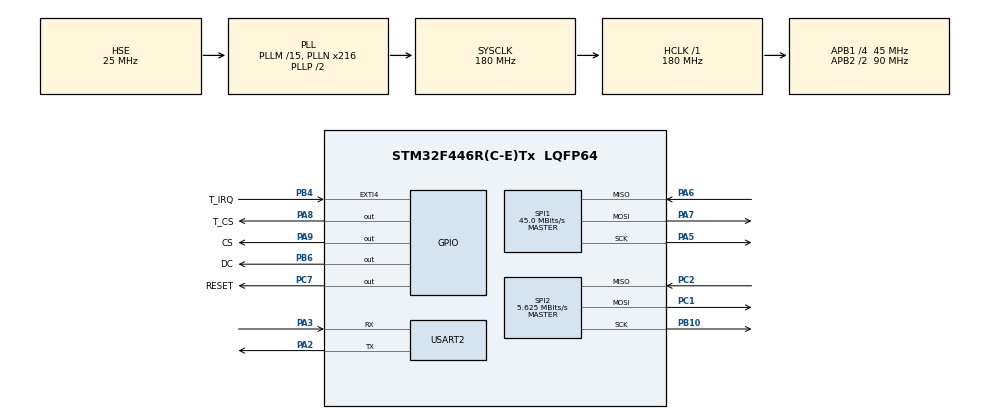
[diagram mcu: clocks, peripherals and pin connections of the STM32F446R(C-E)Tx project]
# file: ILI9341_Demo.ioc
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Dma.Request0=SPI1_TX
Dma.Request1=USART2_RX
Dma.Request2=USART2_TX
Dma.SPI1_TX.0.Direction=DMA_MEMORY_TO_PERIPH
Dma.SPI1_TX.0.FIFOMode=DMA_FIFOMODE_DISABLE
Dma.SPI1_TX.0.Instance=DMA2_Stream3
Dma.SPI1_TX.0.MemDataAlignment=DMA_MDATAALIGN_BYTE
Dma.SPI1_TX.0.MemInc=DMA_MINC_ENABLE
Dma.SPI1_TX.0.Mode=DMA_NORMAL
Dma.SPI1_TX.0.PeriphDataAlignment=DMA_PDATAALIGN_BYTE
Dma.SPI1_TX.0.PeriphInc=DMA_PINC_DISABLE
Dma.SPI1_TX.0.Priority=DMA_PRIORITY_LOW
Dma.USART2_RX.1.Direction=DMA_PERIPH_TO_MEMORY
Dma.USART2_RX.1.FIFOMode=DMA_FIFOMODE_DISABLE
Dma.USART2_RX.1.Instance=DMA1_Stream5
Dma.USART2_RX.1.MemDataAlignment=DMA_MDATAALIGN_BYTE
Dma.USART2_RX.1.MemInc=DMA_MINC_ENABLE
Dma.USART2_RX.1.Mode=DMA_NORMAL
Dma.USART2_RX.1.PeriphDataAlignment=DMA_PDATAALIGN_BYTE
Dma.USART2_RX.1.PeriphInc=DMA_PINC_DISABLE
Dma.USART2_RX.1.Priority=DMA_PRIORITY_LOW
Dma.USART2_TX.2.Direction=DMA_MEMORY_TO_PERIPH
Dma.USART2_TX.2.FIFOMode=DMA_FIFOMODE_DISABLE
Dma.USART2_TX.2.Instance=DMA1_Stream6
Dma.USART2_TX.2.MemDataAlignment=DMA_MDATAALIGN_BYTE
Dma.USART2_TX.2.MemInc=DMA_MINC_ENABLE
Dma.USART2_TX.2.Mode=DMA_NORMAL
Dma.USART2_TX.2.PeriphDataAlignment=DMA_PDATAALIGN_BYTE
Dma.USART2_TX.2.PeriphInc=DMA_PINC_DISABLE
Dma.USART2_TX.2.Priority=DMA_PRIORITY_LOW
FREERTOS.Tasks01=defaultTask,24,128,StartDefaultTask,Default,NULL,Dynamic,NULL,NULL
Mcu.Family=STM32F4
Mcu.Name=STM32F446R(C-E)Tx
Mcu.Package=LQFP64
NVIC.DMA1_Stream5_IRQn=true\:5\:0\:false\:false\:true\:true\:false\:true\:true
NVIC.DMA1_Stream6_IRQn=true\:5\:0\:false\:false\:true\:true\:false\:true\:true
NVIC.DMA2_Stream3_IRQn=true\:5\:0\:false\:false\:true\:true\:false\:true\:true
NVIC.EXTI4_IRQn=true\:5\:0\:false\:false\:true\:true\:true\:true\:true
NVIC.PriorityGroup=NVIC_PRIORITYGROUP_4
NVIC.SPI1_IRQn=true\:5\:0\:false\:false\:true\:true\:true\:true\:true
NVIC.SPI2_IRQn=true\:5\:0\:false\:false\:true\:true\:true\:true\:true
NVIC.TIM6_DAC_IRQn=true\:15\:0\:false\:false\:true\:false\:false\:true\:true
NVIC.TimeBase=TIM6_DAC_IRQn
NVIC.TimeBaseIP=TIM6
NVIC.USART2_IRQn=true\:5\:0\:false\:false\:true\:true\:true\:true\:true
PA13.Mode=Serial_Wire
PA13.Signal=SYS_JTMS-SWDIO
PA14.Mode=Serial_Wire
PA14.Signal=SYS_JTCK-SWCLK
PA2.Mode=Asynchronous
PA2.Signal=USART2_TX
PA3.Mode=Asynchronous
PA3.Signal=USART2_RX
PA5.Mode=Full_Duplex_Master
PA5.Signal=SPI1_SCK
PA6.Mode=Full_Duplex_Master
PA6.Signal=SPI1_MISO
PA7.Mode=Full_Duplex_Master
PA7.Signal=SPI1_MOSI
PA8.GPIO_Label=T_CS
PA8.Signal=GPIO_Output
PA9.GPIO_Label=CS
PA9.Signal=GPIO_Output
PB10.Mode=Full_Duplex_Master
PB10.Signal=SPI2_SCK
PB4.GPIO_Label=T_IRQ
PB4.GPIO_ModeDefaultEXTI=GPIO_MODE_IT_FALLING
PB4.Signal=GPXTI4
PB6.GPIO_Label=DC
PB6.Signal=GPIO_Output
PC1.Mode=Full_Duplex_Master
PC1.Signal=SPI2_MOSI
PC14-OSC32_IN.Mode=LSE-External-Oscillator
PC14-OSC32_IN.Signal=RCC_OSC32_IN
PC15-OSC32_OUT.Mode=LSE-External-Oscillator
PC15-OSC32_OUT.Signal=RCC_OSC32_OUT
PC2.Mode=Full_Duplex_Master
PC2.Signal=SPI2_MISO
PC7.GPIO_Label=RESET
PC7.Signal=GPIO_Output
PH0-OSC_IN.Mode=HSE-External-Oscillator
PH0-OSC_IN.Signal=RCC_OSC_IN
PH1-OSC_OUT.Mode=HSE-External-Oscillator
PH1-OSC_OUT.Signal=RCC_OSC_OUT
ProjectManager.HeapSize=0x200
ProjectManager.StackSize=0x400
ProjectManager.TargetToolchain=CMake
RCC.AHBFreq_Value=180000000
RCC.APB1CLKDivider=RCC_HCLK_DIV4
RCC.APB1Freq_Value=45000000
RCC.APB1TimFreq_Value=90000000
RCC.APB2CLKDivider=RCC_HCLK_DIV2
RCC.APB2Freq_Value=90000000
RCC.APB2TimFreq_Value=180000000
RCC.CortexFreq_Value=180000000
RCC.HCLKFreq_Value=180000000
RCC.PLLM=15
RCC.PLLN=216
RCC.PLLSourceVirtual=RCC_PLLSOURCE_HSE
RCC.RCC_RTC_Clock_SourceVirtual=RCC_RTCCLKSOURCE_LSE
RCC.SYSCLKFreq_VALUE=180000000
RCC.SYSCLKSource=RCC_SYSCLKSOURCE_PLLCLK
RCC.USBFreq_Value=180000000
RCC.VCOOutputFreq_Value=360000000
RTC.Date=12
RTC.Hours=9
RTC.Minutes=11
RTC.Month=RTC_MONTH_AUGUST
RTC.Year=25
SPI1.CalculateBaudRate=45.0 MBits/s
SPI1.Direction=SPI_DIRECTION_2LINES
SPI1.Mode=SPI_MODE_MASTER
SPI1.VirtualType=VM_MASTER
SPI2.BaudRatePrescaler=SPI_BAUDRATEPRESCALER_8
SPI2.CalculateBaudRate=5.625 MBits/s
SPI2.Direction=SPI_DIRECTION_2LINES
SPI2.Mode=SPI_MODE_MASTER
SPI2.VirtualType=VM_MASTER
USART2.VirtualMode=VM_ASYNC
VP_FREERTOS_VS_CMSIS_V2.Mode=CMSIS_V2
VP_RTC_VS_RTC_Activate.Mode=RTC_Enabled
VP_RTC_VS_RTC_Calendar.Mode=RTC_Calendar
VP_SYS_VS_tim6.Mode=TIM6
board=custom

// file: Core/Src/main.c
/* USER CODE BEGIN Header */
/**
  ******************************************************************************
  * @file           : main.c
  * @brief          : Main program body
  ******************************************************************************
  * @attention
  *
  * Copyright (c) 2025 STMicroelectronics.
  * All rights reserved.
  *
  * This software is licensed under terms that can be found in the LICENSE file
  * in the root directory of this software component.
  * If no LICENSE file comes with this software, it is provided AS-IS.
  *
  ******************************************************************************
  */
/* USER CODE END Header */
#include "main.h"
#include "cmsis_os.h"

/* USER CODE BEGIN Includes */
#include "ILI9341.h"
#include "lvgl.h"
#include "LCDController.h"
#include "XPT2046.h"
#include "TouchController.h"
#include <stdio.h>
#include <string.h>

/* USER CODE END Includes */

RTC_HandleTypeDef hrtc;

SPI_HandleTypeDef hspi1;
SPI_HandleTypeDef hspi2;
DMA_HandleTypeDef hdma_spi1_tx;

UART_HandleTypeDef huart2;
DMA_HandleTypeDef hdma_usart2_rx;
DMA_HandleTypeDef hdma_usart2_tx;

/* Definitions for defaultTask */
osThreadId_t defaultTaskHandle;
const osThreadAttr_t defaultTask_attributes = {
  .name = "defaultTask",
  .stack_size = 256 * 8,
  .priority = (osPriority_t) osPriorityNormal,
};
/* Definitions for uartTask */
osThreadId_t uartTaskHandle;
const osThreadAttr_t uartTask_attributes = {
  .name = "uartTask",
  .stack_size = 128 * 8,
  .priority = (osPriority_t) osPriorityLow,
};
/* Definitions for rtcTask */
osThreadId_t rtcTaskHandle;
const osThreadAttr_t rtcTask_attributes = {
  .name = "rtcTask",
  .stack_size = 128 * 8,
  .priority = (osPriority_t) osPriorityLow,
};
/* USER CODE BEGIN PV */
lv_obj_t *time_label = NULL;
lv_obj_t *date_label = NULL;
lv_obj_t *calendar = NULL;
osMessageQueueId_t rtcQueueHandle;
/* USER CODE END PV */

void SystemClock_Config(void);
static void MX_GPIO_Init(void);
static void MX_DMA_Init(void);
static void MX_SPI1_Init(void);
static void MX_RTC_Init(void);
static void MX_SPI2_Init(void);
static void MX_USART2_UART_Init(void);
void StartDefaultTask(void *argument);
void StartUartTask(void *argument);
void StartRtcTask(void *argument);

/* USER CODE BEGIN 0 */

typedef struct {
  uint8_t hours;
  uint8_t minutes;
  uint8_t seconds;
  uint8_t day;
  uint8_t month;
  uint8_t year;
  uint8_t weekday;
} rtc_time_msg_t;

static void uart2_print(const char *s)
{
  if (s == NULL) {
    return;
  }
  (void)HAL_UART_Transmit(&huart2, (uint8_t*)s, (uint16_t)strlen(s), 200);
}

static void update_time_date_ui(const rtc_time_msg_t *msg)
{
  static const char *days[] = {"?","Mon","Tue","Wed","Thu","Fri","Sat","Sun"};
  static const char *months[] = {"?","Jan","Feb","Mar","Apr","May","Jun","Jul","Aug","Sep","Oct","Nov","Dec"};
  char time_str[32];
  char date_str[64];

  if (msg == NULL || time_label == NULL || date_label == NULL) {
    return;
  }

  (void)snprintf(time_str, sizeof(time_str), "%02u:%02u:%02u",
                 (unsigned)msg->hours, (unsigned)msg->minutes, (unsigned)msg->seconds);
  lv_label_set_text(time_label, time_str);

  const char *wd = (msg->weekday <= 7) ? days[msg->weekday] : "?";
  const char *mo = (msg->month <= 12) ? months[msg->month] : "?";
  (void)snprintf(date_str, sizeof(date_str), "%s, %s %u, 20%02u",
                 wd, mo, (unsigned)msg->day, (unsigned)msg->year);
  lv_label_set_text(date_label, date_str);

  if (calendar != NULL) {
    lv_calendar_set_today_date(calendar, 2000U + msg->year, msg->month, msg->day);
    lv_calendar_set_showed_date(calendar, 2000U + msg->year, msg->month);
  }
}

/* USER CODE END 0 */

int main(void)
{

  /* MCU Configuration--------------------------------------------------------*/

  /* Reset of all peripherals, Initializes the Flash interface and the Systick. */
  HAL_Init();

  /* Configure the system clock */
  SystemClock_Config();

  /* Initialize all configured peripherals */
  MX_GPIO_Init();
  MX_DMA_Init();
  MX_SPI1_Init();
  MX_RTC_Init();
  MX_SPI2_Init();
  MX_USART2_UART_Init();
  /* USER CODE BEGIN 2 */

  /* UART sanity output BEFORE FreeRTOS starts. If you don't see this,
   * it's wiring/port selection/baud (not RTOS/task scheduling).
   */
  uart2_print("BOOT\r\n");
  HAL_Delay(50);
  uart2_print("BOOT2\r\n");

  // Configure ILI9341 Display
  ILI9341_Config_t ili_config = {
      .hspi = &hspi1,
      .cs_port = CS_GPIO_Port,
      .cs_pin = CS_Pin,
      .dc_port = DC_GPIO_Port,
      .dc_pin = DC_Pin,
      .reset_port = RESET_GPIO_Port,
      .reset_pin = RESET_Pin
  };

  // Initialize LVGL
  lv_init();
  lv_port_disp_init(&ili_config);

  // Configure XPT2046 Touch Controller
  XPT2046_Config_t xpt_config = {
      .hspi = &hspi2,
      .cs_port = T_CS_GPIO_Port,
      .cs_pin = T_CS_Pin,
      .irq_port = T_IRQ_GPIO_Port,
      .irq_pin = T_IRQ_Pin
  };

  TouchController_Init(&xpt_config);
  touch_calibrate();
  HAL_Delay(200);  /* Give time for calibration screen to clear */

    /* Change Active Screen's background color */
  lv_obj_set_style_bg_color(lv_screen_active(), lv_color_hex(0x003a57), LV_PART_MAIN);
  lv_obj_set_style_text_color(lv_screen_active(), lv_color_hex(0xffffff), LV_PART_MAIN);

  /* Create time display */
  time_label = lv_label_create(lv_screen_active());
  lv_label_set_text(time_label, "00:00:00");
  lv_obj_set_style_text_font(time_label, &lv_font_montserrat_14, 0);
  lv_obj_set_style_text_align(time_label, LV_TEXT_ALIGN_CENTER, 0);
  lv_obj_align(time_label, LV_ALIGN_TOP_MID, 0, 6);

  /* Create date display */
  date_label = lv_label_create(lv_screen_active());
  lv_label_set_text(date_label, "Mon, Jan 1, 2025");
  lv_obj_set_style_text_font(date_label, &lv_font_montserrat_14, 0);
  lv_obj_set_style_text_align(date_label, LV_TEXT_ALIGN_CENTER, 0);
  lv_obj_align(date_label, LV_ALIGN_TOP_MID, 0, 26);

  /* Create calendar display */
  calendar = lv_calendar_create(lv_screen_active());
  lv_obj_set_size(calendar, 300, 170);
  lv_obj_align(calendar, LV_ALIGN_BOTTOM_MID, 0, -6);

  /* Prime UI with current RTC time/date if available */
  RTC_TimeTypeDef sTime;
  RTC_DateTypeDef sDate;
  if (HAL_RTC_GetTime(&hrtc, &sTime, RTC_FORMAT_BIN) == HAL_OK) {
    (void)HAL_RTC_GetDate(&hrtc, &sDate, RTC_FORMAT_BIN);
    rtc_time_msg_t msg = {
        .hours = sTime.Hours,
        .minutes = sTime.Minutes,
        .seconds = sTime.Seconds,
        .day = sDate.Date,
        .month = sDate.Month,
        .year = sDate.Year,
        .weekday = sDate.WeekDay,
    };
    update_time_date_ui(&msg);
  }

  /* Force LVGL to process and render the clock display before starting scheduler */
  lv_timer_handler();
  lv_refr_now(NULL);

  /* USER CODE END 2 */

  /* Init scheduler */
  osKernelInitialize();

  /* USER CODE BEGIN RTOS_QUEUES */
  rtcQueueHandle = osMessageQueueNew(4, sizeof(rtc_time_msg_t), NULL);
  if (rtcQueueHandle == NULL) {
    Error_Handler();
  }
  /* USER CODE END RTOS_QUEUES */

  /* Create the thread(s) */
  /* creation of defaultTask */
  defaultTaskHandle = osThreadNew(StartDefaultTask, NULL, &defaultTask_attributes);
  if (defaultTaskHandle == NULL) {
    Error_Handler();
  }

  /* USER CODE BEGIN RTOS_THREADS */
  /* creation of uartTask */
  uartTaskHandle = osThreadNew(StartUartTask, NULL, &uartTask_attributes);
  if (uartTaskHandle == NULL) {
    Error_Handler();
  }
  /* creation of rtcTask */
  rtcTaskHandle = osThreadNew(StartRtcTask, NULL, &rtcTask_attributes);
  if (rtcTaskHandle == NULL) {
    Error_Handler();
  }
  /* USER CODE END RTOS_THREADS */

  /* Start scheduler */
  osKernelStart();

  /* We should never get here as control is now taken by the scheduler */

  /* Infinite loop */
  while (1)
  {

    /* USER CODE BEGIN 3 */
	  lv_timer_handler();
	  HAL_Delay(5);

  }
  /* USER CODE END 3 */
}

void SystemClock_Config(void)
{
  RCC_OscInitTypeDef RCC_OscInitStruct = {0};
  RCC_ClkInitTypeDef RCC_ClkInitStruct = {0};

  /** Configure the main internal regulator output voltage
  */
  __HAL_RCC_PWR_CLK_ENABLE();
  __HAL_PWR_VOLTAGESCALING_CONFIG(PWR_REGULATOR_VOLTAGE_SCALE1);

  /** Initializes the RCC Oscillators according to the specified parameters
  * in the RCC_OscInitTypeDef structure.
  */
  RCC_OscInitStruct.OscillatorType = RCC_OSCILLATORTYPE_HSE|RCC_OSCILLATORTYPE_LSE;
  RCC_OscInitStruct.HSEState = RCC_HSE_ON;
  RCC_OscInitStruct.LSEState = RCC_LSE_ON;
  RCC_OscInitStruct.PLL.PLLState = RCC_PLL_ON;
  RCC_OscInitStruct.PLL.PLLSource = RCC_PLLSOURCE_HSE;
  RCC_OscInitStruct.PLL.PLLM = 15;
  RCC_OscInitStruct.PLL.PLLN = 216;
  RCC_OscInitStruct.PLL.PLLP = RCC_PLLP_DIV2;
  RCC_OscInitStruct.PLL.PLLQ = 2;
  RCC_OscInitStruct.PLL.PLLR = 2;
  if (HAL_RCC_OscConfig(&RCC_OscInitStruct) != HAL_OK)
  {
    Error_Handler();
  }

  /** Activate the Over-Drive mode
  */
  if (HAL_PWREx_EnableOverDrive() != HAL_OK)
  {
    Error_Handler();
  }

  /** Initializes the CPU, AHB and APB buses clocks
  */
  RCC_ClkInitStruct.ClockType = RCC_CLOCKTYPE_HCLK|RCC_CLOCKTYPE_SYSCLK
                              |RCC_CLOCKTYPE_PCLK1|RCC_CLOCKTYPE_PCLK2;
  RCC_ClkInitStruct.SYSCLKSource = RCC_SYSCLKSOURCE_PLLCLK;
  RCC_ClkInitStruct.AHBCLKDivider = RCC_SYSCLK_DIV1;
  RCC_ClkInitStruct.APB1CLKDivider = RCC_HCLK_DIV4;
  RCC_ClkInitStruct.APB2CLKDivider = RCC_HCLK_DIV2;

  if (HAL_RCC_ClockConfig(&RCC_ClkInitStruct, FLASH_LATENCY_5) != HAL_OK)
  {
    Error_Handler();
  }
}

static void MX_RTC_Init(void)
{

  RTC_TimeTypeDef sTime = {0};
  RTC_DateTypeDef sDate = {0};

  /** Initialize RTC Only
  */
  hrtc.Instance = RTC;
  hrtc.Init.HourFormat = RTC_HOURFORMAT_24;
  hrtc.Init.AsynchPrediv = 127;
  hrtc.Init.SynchPrediv = 255;
  hrtc.Init.OutPut = RTC_OUTPUT_DISABLE;
  hrtc.Init.OutPutPolarity = RTC_OUTPUT_POLARITY_HIGH;
  hrtc.Init.OutPutType = RTC_OUTPUT_TYPE_OPENDRAIN;
  if (HAL_RTC_Init(&hrtc) != HAL_OK)
  {
    Error_Handler();
  }

  /* Sync shadow registers (recommended when using LSE) */
  if (HAL_RTC_WaitForSynchro(&hrtc) != HAL_OK)
  {
    Error_Handler();
  }

  /* USER CODE BEGIN Check_RTC_BKUP */
  /* If the backup domain is preserved and a marker is present,
   * don't overwrite the current time/date on every reset.
   */
  HAL_PWR_EnableBkUpAccess();
  const uint32_t rtc_magic = 0x32F2U;
  const uint32_t rtc_magic_reg = RTC_BKP_DR0;
  uint32_t rtc_already_set = (HAL_RTCEx_BKUPRead(&hrtc, rtc_magic_reg) == rtc_magic) ? 1U : 0U;
  /* USER CODE END Check_RTC_BKUP */

  /** Initialize RTC and set the Time and Date
  */
  if (!rtc_already_set) {
    /* Fallback compile-time default; adjust once over UART/UI if desired.
     * Use BIN format consistently.
     */
    sTime.Hours = 12;
    sTime.Minutes = 0;
    sTime.Seconds = 0;
    sTime.DayLightSaving = RTC_DAYLIGHTSAVING_NONE;
    sTime.StoreOperation = RTC_STOREOPERATION_RESET;
    if (HAL_RTC_SetTime(&hrtc, &sTime, RTC_FORMAT_BIN) != HAL_OK)
    {
      Error_Handler();
    }
    sDate.WeekDay = RTC_WEEKDAY_SUNDAY;
    sDate.Month = RTC_MONTH_DECEMBER;
    sDate.Date = 14;
    sDate.Year = 25;

    if (HAL_RTC_SetDate(&hrtc, &sDate, RTC_FORMAT_BIN) != HAL_OK)
    {
      Error_Handler();
    }

    HAL_RTCEx_BKUPWrite(&hrtc, rtc_magic_reg, rtc_magic);
  }

}

static void MX_SPI1_Init(void)
{

  /* SPI1 parameter configuration*/
  hspi1.Instance = SPI1;
  hspi1.Init.Mode = SPI_MODE_MASTER;
  hspi1.Init.Direction = SPI_DIRECTION_2LINES;
  hspi1.Init.DataSize = SPI_DATASIZE_8BIT;
  hspi1.Init.CLKPolarity = SPI_POLARITY_LOW;
  hspi1.Init.CLKPhase = SPI_PHASE_1EDGE;
  hspi1.Init.NSS = SPI_NSS_SOFT;
  hspi1.Init.BaudRatePrescaler = SPI_BAUDRATEPRESCALER_2;
  hspi1.Init.FirstBit = SPI_FIRSTBIT_MSB;
  hspi1.Init.TIMode = SPI_TIMODE_DISABLE;
  hspi1.Init.CRCCalculation = SPI_CRCCALCULATION_DISABLE;
  hspi1.Init.CRCPolynomial = 10;
  if (HAL_SPI_Init(&hspi1) != HAL_OK)
  {
    Error_Handler();
  }

}

static void MX_SPI2_Init(void)
{

  /* SPI2 parameter configuration*/
  hspi2.Instance = SPI2;
  hspi2.Init.Mode = SPI_MODE_MASTER;
  hspi2.Init.Direction = SPI_DIRECTION_2LINES;
  hspi2.Init.DataSize = SPI_DATASIZE_8BIT;
  hspi2.Init.CLKPolarity = SPI_POLARITY_LOW;
  hspi2.Init.CLKPhase = SPI_PHASE_1EDGE;
  hspi2.Init.NSS = SPI_NSS_SOFT;
  hspi2.Init.BaudRatePrescaler = SPI_BAUDRATEPRESCALER_8;
  hspi2.Init.FirstBit = SPI_FIRSTBIT_MSB;
  hspi2.Init.TIMode = SPI_TIMODE_DISABLE;
  hspi2.Init.CRCCalculation = SPI_CRCCALCULATION_DISABLE;
  hspi2.Init.CRCPolynomial = 10;
  if (HAL_SPI_Init(&hspi2) != HAL_OK)
  {
    Error_Handler();
  }

}

static void MX_USART2_UART_Init(void)
{

  huart2.Instance = USART2;
  huart2.Init.BaudRate = 115200;
  huart2.Init.WordLength = UART_WORDLENGTH_8B;
  huart2.Init.StopBits = UART_STOPBITS_1;
  huart2.Init.Parity = UART_PARITY_NONE;
  huart2.Init.Mode = UART_MODE_TX_RX;
  huart2.Init.HwFlowCtl = UART_HWCONTROL_NONE;
  huart2.Init.OverSampling = UART_OVERSAMPLING_16;
  if (HAL_UART_Init(&huart2) != HAL_OK)
  {
    Error_Handler();
  }

}

static void MX_DMA_Init(void)
{

  /* DMA controller clock enable */
  __HAL_RCC_DMA2_CLK_ENABLE();
  __HAL_RCC_DMA1_CLK_ENABLE();

  /* DMA interrupt init */
  /* DMA1_Stream5_IRQn interrupt configuration */
  HAL_NVIC_SetPriority(DMA1_Stream5_IRQn, 5, 0);
  HAL_NVIC_EnableIRQ(DMA1_Stream5_IRQn);
  /* DMA1_Stream6_IRQn interrupt configuration */
  HAL_NVIC_SetPriority(DMA1_Stream6_IRQn, 5, 0);
  HAL_NVIC_EnableIRQ(DMA1_Stream6_IRQn);
  /* DMA2_Stream3_IRQn interrupt configuration */
  HAL_NVIC_SetPriority(DMA2_Stream3_IRQn, 5, 0);
  HAL_NVIC_EnableIRQ(DMA2_Stream3_IRQn);

}

static void MX_GPIO_Init(void)
{
  GPIO_InitTypeDef GPIO_InitStruct = {0};

  /* GPIO Ports Clock Enable */
  __HAL_RCC_GPIOC_CLK_ENABLE();
  __HAL_RCC_GPIOH_CLK_ENABLE();
  __HAL_RCC_GPIOA_CLK_ENABLE();
  __HAL_RCC_GPIOB_CLK_ENABLE();

  /*Configure GPIO pin Output Level */
  HAL_GPIO_WritePin(RESET_GPIO_Port, RESET_Pin, GPIO_PIN_RESET);

  /*Configure GPIO pin Output Level */
  HAL_GPIO_WritePin(GPIOA, T_CS_Pin|CS_Pin, GPIO_PIN_RESET);

  /*Configure GPIO pin Output Level */
  HAL_GPIO_WritePin(DC_GPIO_Port, DC_Pin, GPIO_PIN_RESET);

  /*Configure GPIO pin : RESET_Pin */
  GPIO_InitStruct.Pin = RESET_Pin;
  GPIO_InitStruct.Mode = GPIO_MODE_OUTPUT_PP;
  GPIO_InitStruct.Pull = GPIO_NOPULL;
  GPIO_InitStruct.Speed = GPIO_SPEED_FREQ_LOW;
  HAL_GPIO_Init(RESET_GPIO_Port, &GPIO_InitStruct);

  /*Configure GPIO pins : T_CS_Pin CS_Pin */
  GPIO_InitStruct.Pin = T_CS_Pin|CS_Pin;
  GPIO_InitStruct.Mode = GPIO_MODE_OUTPUT_PP;
  GPIO_InitStruct.Pull = GPIO_NOPULL;
  GPIO_InitStruct.Speed = GPIO_SPEED_FREQ_LOW;
  HAL_GPIO_Init(GPIOA, &GPIO_InitStruct);

  /*Configure GPIO pin : T_IRQ_Pin */
  GPIO_InitStruct.Pin = T_IRQ_Pin;
  GPIO_InitStruct.Mode = GPIO_MODE_IT_FALLING;
  GPIO_InitStruct.Pull = GPIO_NOPULL;
  HAL_GPIO_Init(T_IRQ_GPIO_Port, &GPIO_InitStruct);

  /*Configure GPIO pin : DC_Pin */
  GPIO_InitStruct.Pin = DC_Pin;
  GPIO_InitStruct.Mode = GPIO_MODE_OUTPUT_PP;
  GPIO_InitStruct.Pull = GPIO_NOPULL;
  GPIO_InitStruct.Speed = GPIO_SPEED_FREQ_LOW;
  HAL_GPIO_Init(DC_GPIO_Port, &GPIO_InitStruct);

  /* EXTI interrupt init*/
  HAL_NVIC_SetPriority(EXTI4_IRQn, 5, 0);
  HAL_NVIC_EnableIRQ(EXTI4_IRQn);

}

void StartDefaultTask(void *argument)
{
  /* USER CODE BEGIN 5 */
  (void)argument;  /* Unused parameter */
  rtc_time_msg_t msg;

  /* Infinite loop */
  for(;;)
  {
    /* LVGL tick + handler: keep it self-contained in this task.
     * This avoids relying on SysTick/TIM6 wiring when using FreeRTOS.
     */
    lv_tick_inc(5);
    lv_timer_handler();

    while (rtcQueueHandle != NULL &&
           osMessageQueueGet(rtcQueueHandle, &msg, NULL, 0) == osOK) {
      update_time_date_ui(&msg);
    }

    osDelay(5);
  }
  /* USER CODE END 5 */
}

void StartUartTask(void *argument)
{
  /* USER CODE BEGIN StartUartTask */
  (void)argument;
  RTC_TimeTypeDef sTime;
  RTC_DateTypeDef sDate;
  char line[96];

  /* Give the host a moment to attach after reset */
  osDelay(250);

  uart2_print("UART TASK START\r\n");

  for(;;)
  {
    /* Read time then date (required sequence for STM32 RTC shadow registers) */
    if (HAL_RTC_GetTime(&hrtc, &sTime, RTC_FORMAT_BIN) == HAL_OK) {
      (void)HAL_RTC_GetDate(&hrtc, &sDate, RTC_FORMAT_BIN);

      (void)snprintf(line, sizeof(line),
                     "RTC %02u:%02u:%02u %02u/%02u/20%02u\r\n",
                     (unsigned)sTime.Hours,
                     (unsigned)sTime.Minutes,
                     (unsigned)sTime.Seconds,
                     (unsigned)sDate.Month,
                     (unsigned)sDate.Date,
                     (unsigned)sDate.Year);
      uart2_print(line);
    }

    osDelay(1000);
  }
  /* USER CODE END StartUartTask */
}

void StartRtcTask(void *argument)
{
  /* USER CODE BEGIN StartRtcTask */
  (void)argument;
  RTC_TimeTypeDef sTime;
  RTC_DateTypeDef sDate;
  uint8_t last_seconds = 0xFF;

  for(;;)
  {
    if (HAL_RTC_GetTime(&hrtc, &sTime, RTC_FORMAT_BIN) == HAL_OK) {
      (void)HAL_RTC_GetDate(&hrtc, &sDate, RTC_FORMAT_BIN);

      if (sTime.Seconds != last_seconds) {
        last_seconds = sTime.Seconds;
        rtc_time_msg_t msg = {
            .hours = sTime.Hours,
            .minutes = sTime.Minutes,
            .seconds = sTime.Seconds,
            .day = sDate.Date,
            .month = sDate.Month,
            .year = sDate.Year,
            .weekday = sDate.WeekDay,
        };
        if (rtcQueueHandle != NULL) {
          (void)osMessageQueuePut(rtcQueueHandle, &msg, 0U, 0U);
        }
      }
    }

    osDelay(250);
  }
  /* USER CODE END StartRtcTask */
}

void HAL_TIM_PeriodElapsedCallback(TIM_HandleTypeDef *htim)
{
  if (htim->Instance == TIM6)
  {
    HAL_IncTick();
  }
}

void Error_Handler(void)
{
  /* USER CODE BEGIN Error_Handler_Debug */
  /* User can add his own implementation to report the HAL error return state */
  const char* err_msg = "ERROR: System halted\\r\\n";
  HAL_UART_Transmit(&huart2, (uint8_t*)err_msg, strlen(err_msg), 1000);
  __disable_irq();
  while (1)
  {
  }
  /* USER CODE END Error_Handler_Debug */
}

/* USER CODE BEGIN 4 */
void vApplicationMallocFailedHook(void)
{
  /* Called if a call to pvPortMalloc() fails - heap is full */
  ILI9341_FillScreen(0xF800);  /* Red screen = heap overflow */
  __disable_irq();
  while(1);
}

void vApplicationStackOverflowHook(TaskHandle_t xTask, char *pcTaskName)
{
  (void)xTask;
  (void)pcTaskName;
  /* Stack overflow - show yellow screen */
  ILI9341_FillScreen(0xFFE0);  /* Yellow screen = stack overflow */
  __disable_irq();
  while(1);
}
/* USER CODE END 4 */
